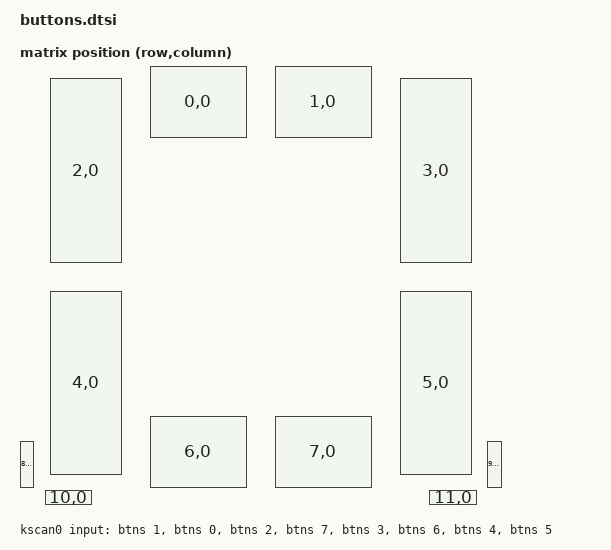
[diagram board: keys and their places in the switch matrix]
/ {
    btns: connector {
        compatible = "efogtech-trackball-0";
        #gpio-cells = <2>;
        gpio-map-mask = <0xffffffff 0xffffffc0>;
        gpio-map-pass-thru = <0 0x3f>;
        gpio-map
            // Top-top-right then CCW
            = <0 0 &gpio0 26 0>
            , <1 0 &gpio0 27 0>
            , <2 0 &gpio0 1 0>
            , <3 0 &gpio0 21 0>
            , <4 0 &gpio0 8 0>
            , <5 0 &gpio0 7 0>
            , <6 0 &gpio0 5 0>
            , <7 0 &gpio0 4 0>;
    };

    kscan0: kscan {
        compatible = "zmk,kscan-gpio-direct";
        input-gpios
        = <&btns 1 (GPIO_ACTIVE_LOW)>
        , <&btns 0 (GPIO_ACTIVE_LOW)>
        , <&btns 2 (GPIO_ACTIVE_LOW)>
        , <&btns 7 (GPIO_ACTIVE_LOW)>
        , <&btns 3 (GPIO_ACTIVE_LOW)>
        , <&btns 6 (GPIO_ACTIVE_LOW)>
        , <&btns 4 (GPIO_ACTIVE_LOW)>
        , <&btns 5 (GPIO_ACTIVE_LOW)>
        ;
    };

//    keys {
//        compatible = "gpio-keys";
//        wakeup_key: wakeup_key {
//            gpios = <&btns 10 GPIO_ACTIVE_LOW>;
//        };
//    };
//
//    wakeup_source: wakeup_source {
//        compatible = "zmk,gpio-key-wakeup-trigger";
//        trigger = <&wakeup_key>;
//        wakeup-source;
//    };

//    soft_off_wakers {
//        compatible = "zmk,soft-off-wakeup-sources";
//        wakeup-sources = <&wakeup_source>;
//    };

    default_transform: keymap_transform_0 {
        compatible = "zmk,matrix-transform";
        rows = <12>;
        columns = <1>;
        map =
                <
                RC(0, 0)  RC(1, 0)
                RC(2, 0)  RC(3, 0)
                RC(4, 0)  RC(5, 0)
                RC(6, 0)  RC(7, 0)
                RC(8, 0)  RC(9, 0)
                RC(10, 0) RC(11, 0)
                >;
    };

    physical_layout0: physical_layout_0 {
        compatible = "zmk,physical-layout";
        display-name = "Default Layout";

        transform = <&default_transform>;
        kscan = <&kscan0>;

        keys  //               w     h     x     y     rot  rx   ry
        = <&key_physical_attrs 200   150   275   0     0    8    8  >
        , <&key_physical_attrs 200   150   525   0     0    8    8  >
        , <&key_physical_attrs 150   375   75    25    0    8    8  >
        , <&key_physical_attrs 150   375   775   25    0    8    8  >
        , <&key_physical_attrs 150   375   75    450   0    8    8  >
        , <&key_physical_attrs 150   375   775   450   0    8    8  >
        , <&key_physical_attrs 200   150   275   700   0    8    8  >
        , <&key_physical_attrs 200   150   525   700   0    8    8  >

        , <&key_physical_attrs 35    100   15    750   0    8    8  >
        , <&key_physical_attrs 35    100   950   750   0    8    8  >

        , <&key_physical_attrs 100   35    65    850   0    8    8  >
        , <&key_physical_attrs 100   35    835   850   0    8    8  >
        ;
    };

    position_map {
        compatible = "zmk,physical-layout-position-map";
        complete;

        layout1: layout1 {
            physical-layout = <&physical_layout0>;
            positions = <0>, <1>, <2>, <3>, <4>, <5>, <6>, <7>;
        };
    };
};
